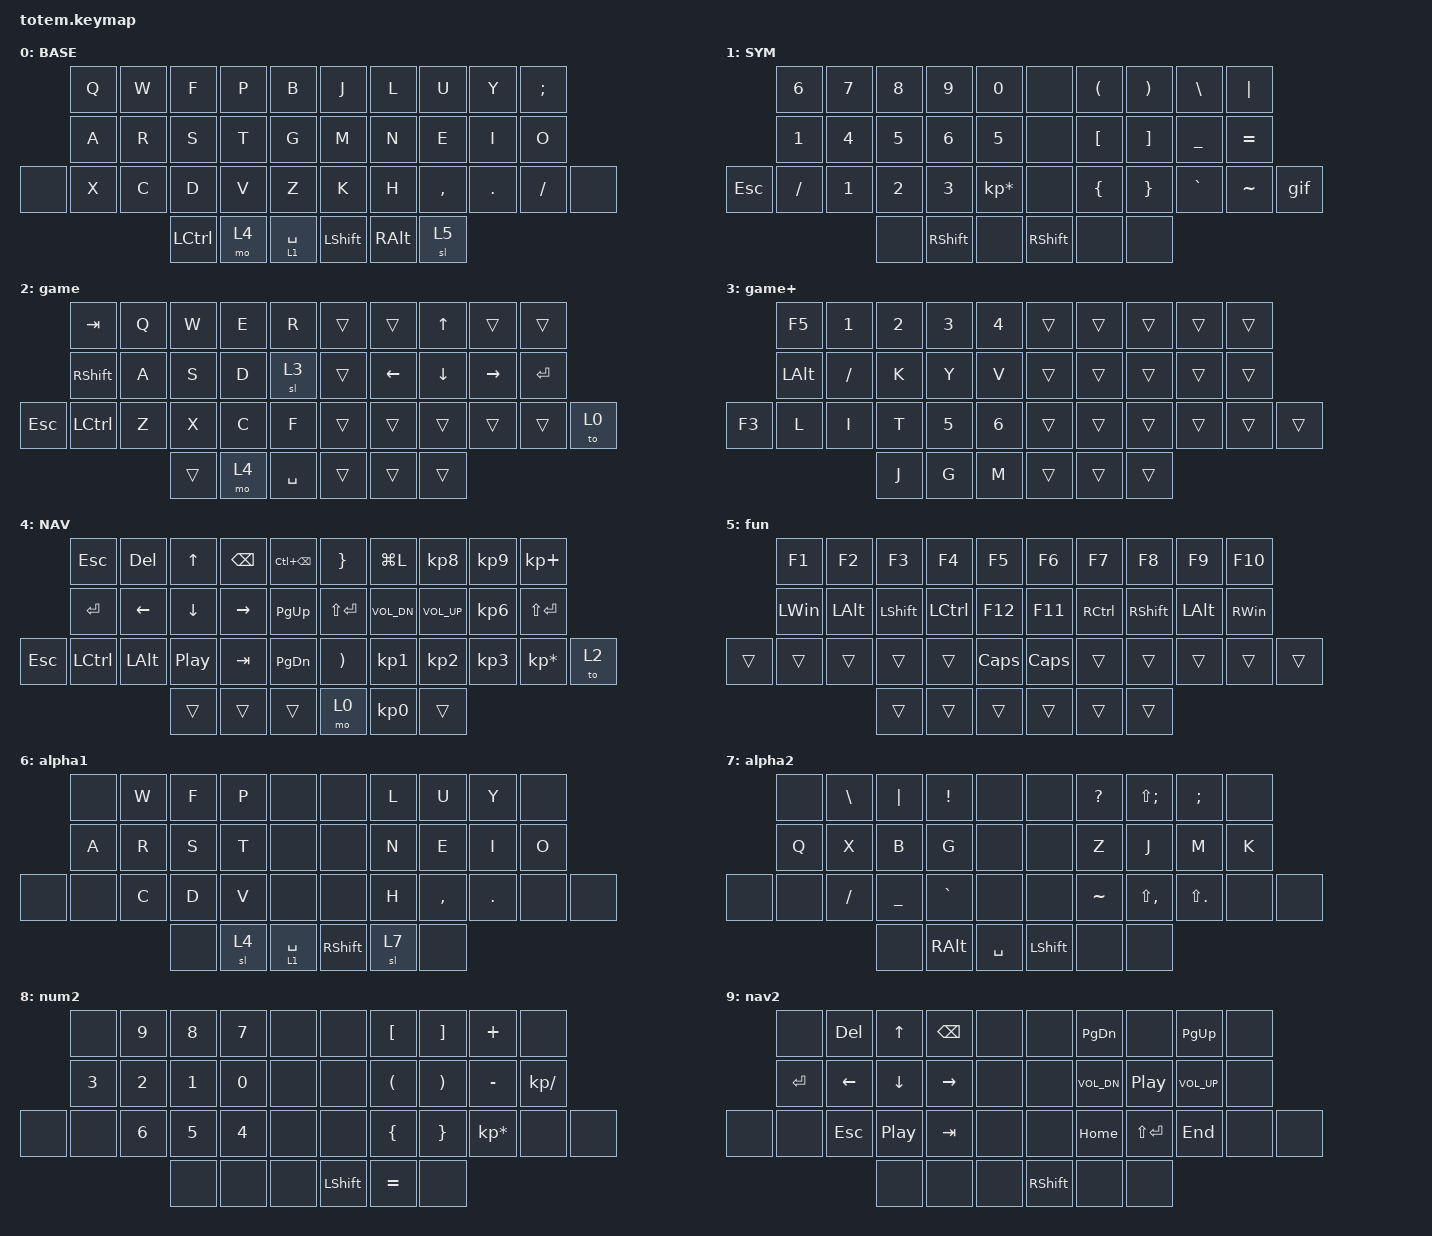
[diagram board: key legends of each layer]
//
//                                                        ▀▀▀▀▀     ▀▀▀▀▀          ▀▀█▀▀
//                                                        ▄▀▀▀▄  ▄  ▄▀▀▀▄  ▄  ▄▀▀▀▄  █  ▄▀▀▀▄
//                                                        █   █  █  █   █  █  █   █  █  █   █
//                                                         ▀▀▀   █   ▀▀▀   █   ▀▀▀   ▀   ▀▀▀
//                                                               █      ▄▄▄█▄▄▄    █   █  
//                                                               ▀      █  █  █     █▄█
//                                                             ▀▀▀▀▀    █  █  █      ▀
//                                                                      ▀  ▀  ▀
//
// ▄▄▄▄▄▄▄▄▄▄▄▄▄▄▄▄▄▄▄▄▄▄▄▄▄▄▄▄▄▄▄▄▄▄▄▄▄▄▄▄▄▄▄▄▄▄▄▄▄▄▄▄▄▄▄▄▄▄▄▄▄▄▄▄▄▄▄▄▄▄▄▄▄▄▄▄▄▄▄▄▄▄▄▄▄▄▄▄▄▄▄▄▄▄▄▄▄▄▄▄▄▄▄▄▄▄▄▄▄▄▄▄▄▄▄▄▄▄▄▄▄▄▄▄▄▄▄▄▄▄▄▄▄▄▄▄▄▄▄▄▄▄▄▄▄▄▄▄▄

#define ZMK_POINTING_DEFAULT_MOVE_VAL 1500  // default: 600
#define ZMK_POINTING_DEFAULT_SCRL_VAL 20    // default: 10

#include <behaviors.dtsi>
#include <dt-bindings/zmk/keys.h>

#define BASE 0
#define NAV  1
#define SYM  2
#define ADJ  3
#define TVP1 4
#define TVP2 5

&mt {
    quick-tap-ms = <100>;
    global-quick-tap;
    flavor = "tap-preferred";
    tapping-term-ms = <170>;
};

/ {
    macros {
        gif: gif {
            label = "giphy";
            compatible = "zmk,behavior-macro";
            #binding-cells = <0>;
            bindings =
                <&macro_press>,
                <&kp LSHFT>,
                <&macro_tap>,
                <&kp N2>,
                <&macro_release>,
                <&kp LSHFT>,
                <&macro_tap>,
                <&kp G &kp I &kp F>;
        };
    };

    combos {
        compatible = "zmk,combos";

        apos {
            bindings = <&kp APOS>;
            key-positions = <6 7>;
            layers = <0 1>;
        };

        quote {
            bindings = <&kp DOUBLE_QUOTES>;
            key-positions = <8 7>;
            layers = <0 1>;
        };

        num_dot {
            bindings = <&kp DOT>;
            key-positions = <3 2>;
            layers = <1>;
        };

        num_comma {
            bindings = <&kp COMMA>;
            key-positions = <1 2>;
            layers = <1>;
        };

        ctrl_y {
            bindings = <&kp LC(Y)>;
            key-positions = <13 14>;
            layers = <0>;
        };

        screen {
            bindings = <&kp LG(LS(S))>;
            key-positions = <22 23 24>;
            layers = <4>;
        };

        mouse {
            bindings = <&mo 0>;
            key-positions = <3 2 1 0>;
        };

        escp {
            bindings = <&kp ESC>;
            key-positions = <0 1>;
            layers = <0>;
        };

        ctrl_f {
            bindings = <&kp LC(F)>;
            key-positions = <1 2>;
        };

        fun_left {
            bindings = <&sl 5>;
            key-positions = <13 34>;
        };

        fun_right {
            bindings = <&sl 5>;
            key-positions = <35 16>;
        };

        ctrl_z {
            bindings = <&kp LC(Z)>;
            key-positions = <25 24>;
            layers = <0>;
        };
    };

    keymap {
        compatible = "zmk,keymap";

        // ▄▄▄▄▄▄▄▄▄▄▄▄▄▄▄▄▄▄▄▄▄▄▄▄▄▄▄▄▄▄▄▄▄▄▄▄▄▄▄▄▄▄▄▄▄▄▄▄▄▄▄▄▄▄▄▄▄▄▄▄▄▄▄▄▄▄▄▄▄▄▄▄▄▄▄▄▄▄▄▄▄▄▄▄▄▄▄▄▄▄▄▄▄▄▄▄▄▄▄▄▄▄▄▄▄▄▄▄▄▄▄▄▄▄▄▄▄▄▄▄▄▄▄▄▄▄▄▄▄▄▄▄▄▄▄▄▄▄▄▄▄▄▄▄▄▄▄▄▄

        base {
            // ┏━━━━━━━━━━━━━━━━━━━━━━━━━━━━━━━━━━━━━━━┓

            label = "BASE";

            // ┗━━━━━━━━━━━━━━━━━━━━━━━━━━━━━━━━━━━━━━━┛
            //             ┏━━━━━━━━━━━┳━━━━━━━━━━━┳━━━━━━━━━━━┳━━━━━━━━━━━┳━━━━━━━━━━━┓   ┏━━━━━━━━━━━┳━━━━━━━━━━━┳━━━━━━━━━━━┳━━━━━━━━━━━┳━━━━━━━━━━━┓
            //             ┃     Q     ┃     W     ┃     F     ┃     P     ┃     G     ┃   ┃     J     ┃     L     ┃     U     ┃     Y     ┃     ;     ┃
            //             ┣━━━━━━━━━━━╋━━━━━━━━━━━╋━━━━━━━━━━━╋━━━━━━━━━━━╋━━━━━━━━━━━┫   ┣━━━━━━━━━━━╋━━━━━━━━━━━╋━━━━━━━━━━━╋━━━━━━━━━━━╋━━━━━━━━━━━┫
            //             ┃     A     ┃     R     ┃     S     ┃     T     ┃     D     ┃   ┃     H     ┃     N     ┃     E     ┃     I     ┃     O     ┃
            // ┏━━━━━━━━━━━╋━━━━━━━━━━━╋━━━━━━━━━━━╋━━━━━━━━━━━╋━━━━━━━━━━━╋━━━━━━━━━━━┫   ┣━━━━━━━━━━━╋━━━━━━━━━━━╋━━━━━━━━━━━╋━━━━━━━━━━━╋━━━━━━━━━━━╋━━━━━━━━━━━┓
            // ┃     Q     ┃     Z     ┃     X     ┃     C     ┃     V     ┃     B     ┃   ┃     K     ┃     M     ┃     ,     ┃     .     ┃     /     ┃     \     ┃
            // ┗━━━━━━━━━━━┻━━━━━━━━━━━┻━━━━━━━━━━━╋━━━━━━━━━━━╋━━━━━━━━━━━╋━━━━━━━━━━━┫   ┣━━━━━━━━━━━╋━━━━━━━━━━━╋━━━━━━━━━━━╋━━━━━━━━━━━┻━━━━━━━━━━━┻━━━━━━━━━━━┛
            //                                     ┃    DEL    ┃    TAB    ┃    SPC    ┃   ┃   ENTER   ┃           ┃   BSPC    ┃
            //                                     ┗━━━━━━━━━━━┻━━━━━━━━━━━┻━━━━━━━━━━━┛   ┗━━━━━━━━━━━┻━━━━━━━━━━━┻━━━━━━━━━━━┛

            bindings = <
       &kp Q  &kp W  &kp F             &kp P  &kp B          &kp J           &kp L          &kp U      &kp Y    &kp SEMI
       &kp A  &kp R  &kp S             &kp T  &kp G          &kp M           &kp N          &kp E      &kp I    &kp O
&none  &kp X  &kp C  &kp D             &kp V  &kp Z          &kp K           &kp H          &kp COMMA  &kp DOT  &kp FSLH  &none
                     &kp LEFT_CONTROL  &mo 4  &lt 1 SPACE    &kp LEFT_SHIFT  &kp RIGHT_ALT  &sl 5
            >;
        };

        sym {
            label = "SYM";
            bindings = <
         &kp N6     &kp N7  &kp N8  &kp N9           &kp N0             &none            &kp LEFT_PARENTHESIS  &kp RIGHT_PARENTHESIS  &kp BACKSLASH  &kp PIPE
         &kp N1     &kp N4  &kp N5  &kp N6           &kp N5             &none            &kp LEFT_BRACKET      &kp RIGHT_BRACKET      &kp UNDER      &kp EQUAL
&kp ESC  &kp SLASH  &kp N1  &kp N2  &kp N3           &kp KP_MULTIPLY    &none            &kp LEFT_BRACE        &kp RIGHT_BRACE        &kp GRAVE      &kp TILDE  &gif
                            &none   &kp RIGHT_SHIFT  &none              &kp RIGHT_SHIFT  &none                 &none
            >;
        };

        game {
            bindings = <
         &kp TAB           &kp Q  &kp W   &kp E  &kp R        &trans  &trans          &kp UP_ARROW  &trans     &trans
         &kp RIGHT_SHIFT   &kp A  &kp S   &kp D  &sl 3        &trans  &kp LEFT_ARROW  &kp DOWN      &kp RIGHT  &kp ENTER
&kp ESC  &kp LEFT_CONTROL  &kp Z  &kp X   &kp C  &kp F        &trans  &trans          &trans        &trans     &trans     &to 0
                                  &trans  &mo 4  &kp SPACE    &trans  &trans          &trans
            >;
        };

        game+ {
            bindings = <
        &kp F5        &kp NUMBER_1  &kp N2  &kp N3  &kp NUMBER_4    &trans  &trans  &trans  &trans  &trans
        &kp LEFT_ALT  &kp SLASH     &kp K   &kp Y   &kp V           &trans  &trans  &trans  &trans  &trans
&kp F3  &kp L         &kp I         &kp T   &kp N5  &kp N6          &trans  &trans  &trans  &trans  &trans  &trans
                                    &kp J   &kp G   &kp M           &trans  &trans  &trans
            >;
        };

        nav {
            // ┏━━━━━━━━━━━━━━━━━━━━━━━━━━━━━━━━━━━━━━━┓

            label = "NAV";

            // ┗━━━━━━━━━━━━━━━━━━━━━━━━━━━━━━━━━━━━━━━┛
            //             ┏━━━━━━━━━━━┳━━━━━━━━━━━┳━━━━━━━━━━━┳━━━━━━━━━━━┳━━━━━━━━━━━┓   ┏━━━━━━━━━━━┳━━━━━━━━━━━┳━━━━━━━━━━━┳━━━━━━━━━━━┳━━━━━━━━━━━┓
            //             ┃           ┃           ┃     UP    ┃           ┃     {     ┃   ┃     }     ┃     7     ┃     8     ┃     9     ┃     +     ┃
            //             ┣━━━━━━━━━━━╋━━━━━━━━━━━╋━━━━━━━━━━━╋━━━━━━━━━━━╋━━━━━━━━━━━┫   ┣━━━━━━━━━━━╋━━━━━━━━━━━╋━━━━━━━━━━━╋━━━━━━━━━━━╋━━━━━━━━━━━┫
            //             ┃   SHIFT   ┃   LEFT    ┃    DOWN   ┃   RIGHT   ┃     [     ┃   ┃     ]     ┃     4     ┃     5     ┃     6     ┃     -     ┃
            // ┏━━━━━━━━━━━╋━━━━━━━━━━━╋━━━━━━━━━━━╋━━━━━━━━━━━╋━━━━━━━━━━━╋━━━━━━━━━━━┫   ┣━━━━━━━━━━━╋━━━━━━━━━━━╋━━━━━━━━━━━╋━━━━━━━━━━━╋━━━━━━━━━━━╋━━━━━━━━━━━┓
            // ┃           ┃           ┃   P UP    ┃  C LOCK   ┃  P DOWN   ┃     (     ┃   ┃     )     ┃     1     ┃     2     ┃     3     ┃     *     ┃           ┃
            // ┗━━━━━━━━━━━┻━━━━━━━━━━━┻━━━━━━━━━━━╋━━━━━━━━━━━╋━━━━━━━━━━━╋━━━━━━━━━━━┫   ┣━━━━━━━━━━━╋━━━━━━━━━━━╋━━━━━━━━━━━╋━━━━━━━━━━━┻━━━━━━━━━━━┻━━━━━━━━━━━┛
            //                                     ┃           ┃    TAB    ┃    SPC    ┃   ┃    DEL    ┃     0     ┃           ┃
            //                                     ┗━━━━━━━━━━━┻━━━━━━━━━━━┻━━━━━━━━━━━┛   ┗━━━━━━━━━━━┻━━━━━━━━━━━┻━━━━━━━━━━━┛

            bindings = <
         &kp ESC           &kp DEL       &kp UP            &kp BACKSPACE  &kp LC(BACKSPACE)    &kp RBRC       &kp LG(L)     &kp KP_N8        &kp KP_N9  &kp KP_PLUS
         &kp ENTER         &kp LEFT      &kp DOWN          &kp RIGHT      &kp PAGE_UP          &kp LS(ENTER)  &kp C_VOL_DN  &kp C_VOLUME_UP  &kp KP_N6  &kp LS(ENTER)
&kp ESC  &kp LEFT_CONTROL  &kp LEFT_ALT  &kp C_PLAY_PAUSE  &kp TAB        &kp PAGE_DOWN        &kp RPAR       &kp KP_N1     &kp KP_N2        &kp KP_N3  &kp KP_MULTIPLY  &to 2
                                         &trans            &trans         &trans               &mo 0          &kp KP_N0     &trans
            >;
        };

        fun {
            bindings = <
        &kp F1        &kp F2        &kp F3          &kp F4            &kp F5      &kp F6    &kp F7             &kp F8           &kp F9        &kp F10
        &kp LEFT_WIN  &kp LEFT_ALT  &kp LEFT_SHIFT  &kp LEFT_CONTROL  &kp F12     &kp F11   &kp RIGHT_CONTROL  &kp RIGHT_SHIFT  &kp LEFT_ALT  &kp RIGHT_WIN
&trans  &trans        &trans        &trans          &trans            &kp CAPS    &kp CAPS  &trans             &trans           &trans        &trans         &trans
                                    &trans          &trans            &trans      &trans    &trans             &trans
            >;
        };

        alpha1 {
            bindings = <
       &none  &kp W  &kp F  &kp P  &none          &none       &kp L  &kp U      &kp Y       &none
       &kp A  &kp R  &kp S  &kp T  &none          &none       &kp N  &kp E      &kp I       &kp O
&none  &none  &kp C  &kp D  &kp V  &none          &none       &kp H  &kp COMMA  &kp PERIOD  &none  &none
                     &none  &sl 4  &lt 1 SPACE    &kp RSHIFT  &sl 7  &none
            >;
        };

        alpha2 {
            bindings = <
       &none  &kp BSLH   &kp PIPE   &kp EXCL       &none        &none       &kp QUESTION  &kp LS(SEMI)   &kp SEMI     &none
       &kp Q  &kp X      &kp B      &kp G          &none        &none       &kp Z         &kp J          &kp M        &kp K
&none  &none  &kp SLASH  &kp UNDER  &kp GRAVE      &none        &none       &kp TILDE     &kp LS(COMMA)  &kp LS(DOT)  &none  &none
                         &none      &kp RIGHT_ALT  &kp SPACE    &kp LSHIFT  &none         &none
            >;
        };

        num2 {
            bindings = <
       &none   &kp N9  &kp N8  &kp N7  &none    &none       &kp LBKT   &kp RBKT  &kp PLUS         &none
       &kp N3  &kp N2  &kp N1  &kp N0  &none    &none       &kp LPAR   &kp RPAR  &kp MINUS        &kp KP_DIVIDE
&none  &none   &kp N6  &kp N5  &kp N4  &none    &none       &kp LBRC   &kp RBRC  &kp KP_MULTIPLY  &none          &none
                       &none   &none   &none    &kp LSHIFT  &kp EQUAL  &none
            >;
        };

        nav2 {
            bindings = <
       &none      &kp DEL   &kp UP            &kp BACKSPACE  &none    &none       &kp PAGE_DOWN  &none             &kp PAGE_UP   &none
       &kp ENTER  &kp LEFT  &kp DOWN          &kp RIGHT      &none    &none       &kp C_VOL_DN   &kp C_PLAY_PAUSE  &kp C_VOL_UP  &none
&none  &none      &kp ESC   &kp C_PLAY_PAUSE  &kp TAB        &none    &none       &kp HOME       &kp LS(ENTER)     &kp END       &none  &none
                            &none             &none          &none    &kp RSHIFT  &none          &none
            >;
        };

        // ▄▄▄▄▄▄▄▄▄▄▄▄▄▄▄▄▄▄▄▄▄▄▄▄▄▄▄▄▄▄▄▄▄▄▄▄▄▄▄▄▄▄▄▄▄▄▄▄▄▄▄▄▄▄▄▄▄▄▄▄▄▄▄▄▄▄▄▄▄▄▄▄▄▄▄▄▄▄▄▄▄▄▄▄▄▄▄▄▄▄▄▄▄▄▄▄▄▄▄▄▄▄▄▄▄▄▄▄▄▄▄▄▄▄▄▄▄▄▄▄▄▄▄▄▄▄▄▄▄▄▄▄▄▄▄▄▄▄▄▄▄▄▄▄▄▄▄▄▄
        // ▄▄▄▄▄▄▄▄▄▄▄▄▄▄▄▄▄▄▄▄▄▄▄▄▄▄▄▄▄▄▄▄▄▄▄▄▄▄▄▄▄▄▄▄▄▄▄▄▄▄▄▄▄▄▄▄▄▄▄▄▄▄▄▄▄▄▄▄▄▄▄▄▄▄▄▄▄▄▄▄▄▄▄▄▄▄▄▄▄▄▄▄▄▄▄▄▄▄▄▄▄▄▄▄▄▄▄▄▄▄▄▄▄▄▄▄▄▄▄▄▄▄▄▄▄▄▄▄▄▄▄▄▄▄▄▄▄▄▄▄▄▄▄▄▄▄▄▄▄
        // ▄▄▄▄▄▄▄▄▄▄▄▄▄▄▄▄▄▄▄▄▄▄▄▄▄▄▄▄▄▄▄▄▄▄▄▄▄▄▄▄▄▄▄▄▄▄▄▄▄▄▄▄▄▄▄▄▄▄▄▄▄▄▄▄▄▄▄▄▄▄▄▄▄▄▄▄▄▄▄▄▄▄▄▄▄▄▄▄▄▄▄▄▄▄▄▄▄▄▄▄▄▄▄▄▄▄▄▄▄▄▄▄▄▄▄▄▄▄▄▄▄▄▄▄▄▄▄▄▄▄▄▄▄▄▄▄▄▄▄▄▄▄▄▄▄▄▄▄▄
    };
};
